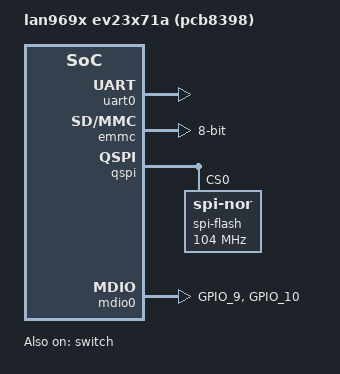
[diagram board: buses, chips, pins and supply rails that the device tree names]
/dts-v1/;

#include "lan969x_a0.dtsi"
#include "lan969x.dtsi"

#include <dt-bindings/mscc/sparx5_data.h>

/ {
	model = "lan969x ev23x71a (pcb8398)";
	config {
		u-boot,mmc-env-partition = "Env";
	};
};

&uart0 {
	status = "okay";
	pinctrl-0 = <&fc0_pins>;
	pinctrl-names = "default";
};

&emmc {
	status = "okay";
	pinctrl-0 = <&emmc_sd_pins>;
	pinctrl-names = "default";
	bus-width = <8>;
};

&qspi {
	status = "okay";
	spi-flash@0 {
		status = "okay";
		compatible = "jedec,spi-nor";
		reg = <0>;
		spi-max-frequency = <104000000>;
		u-boot,dm-pre-reloc;
		m25p,fast-read;
		spi-tx-bus-width = <1>;
		spi-rx-bus-width = <4>;
	};
};

&gpio {
	mdio_pins: mdio-pins {
		pins = "GPIO_9", "GPIO_10";
		function = "miim";
	};
};

&mdio0 {
	pinctrl-0 = <&mdio_pins>;
	pinctrl-names = "default";
};

&switch {
	status = "okay";
	ethernet-ports {
		port24: port@24 {
			reg = <24>;
			phys = <IF_SGMII_CISCO FA_SERDES_TYPE_10G 6>;
		};
	};
};
